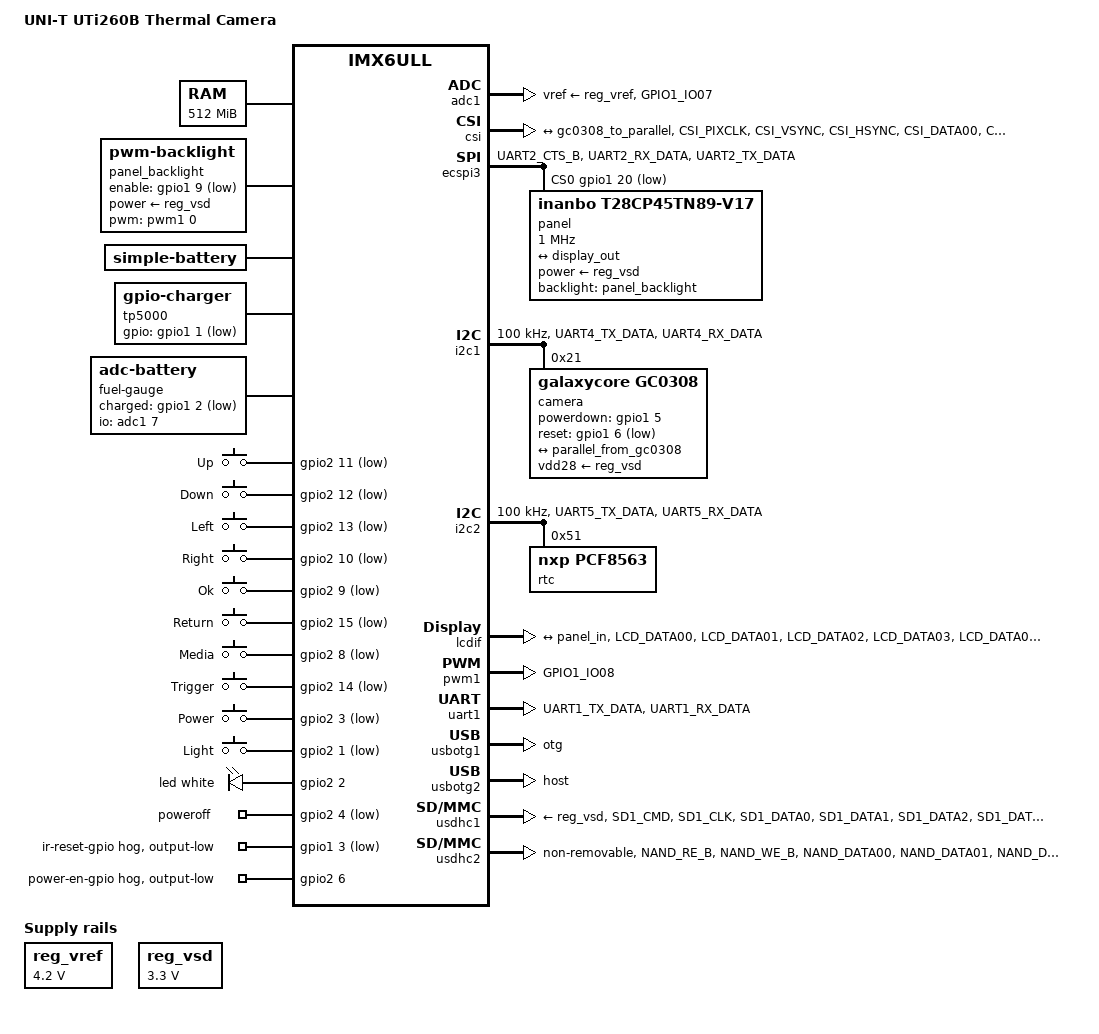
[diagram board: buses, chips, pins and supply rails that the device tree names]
// SPDX-License-Identifier: (GPL-2.0 OR MIT)
// Copyright (C) 2022-2024 Sebastian Reichel <sre@kernel.org>

/dts-v1/;
#include "imx6ull.dtsi"
#include <dt-bindings/gpio/gpio.h>
#include <dt-bindings/input/input.h>
#include <dt-bindings/clock/imx6ul-clock.h>
#include <dt-bindings/leds/common.h>

/ {
	model = "UNI-T UTi260B Thermal Camera";
	compatible = "uni-t,uti260b", "fsl,imx6ull";

	chosen {
		stdout-path = "serial0:115200n8";
	};

	memory@80000000 {
		device_type = "memory";
		reg = <0x80000000 0x20000000>;
	};

	panel_backlight: backlight {
		compatible = "pwm-backlight";
		brightness-levels = <0 4 8 16 32 64 128 255>;
		default-brightness-level = <6>;
		enable-gpios = <&gpio1 9 GPIO_ACTIVE_LOW>;
		pinctrl-names = "default";
		pinctrl-0 = <&mux_backlight_enable>;
		power-supply = <&reg_vsd>;
		pwms = <&pwm1 0 50000 0>;
	};

	battery: battery {
		compatible = "simple-battery";
		/* generic 26650 battery */
		device-chemistry = "lithium-ion";
		charge-full-design-microamp-hours = <5000000>;
		voltage-max-design-microvolt = <4200000>;
		voltage-min-design-microvolt = <3300000>;
	};

	tp5000: charger {
		compatible = "gpio-charger";
		charger-type = "usb-sdp";
		gpios = <&gpio1 1 GPIO_ACTIVE_LOW>;
		pinctrl-names = "default";
		pinctrl-0 = <&mux_charger_stat1>;
	};

	fuel-gauge {
		compatible = "adc-battery";
		charged-gpios = <&gpio1 2 GPIO_ACTIVE_LOW>;
		io-channel-names = "voltage";
		io-channels = <&adc1 7>;
		monitored-battery = <&battery>;
		pinctrl-names = "default";
		pinctrl-0 = <&mux_charger_stat2>;
		power-supplies = <&tp5000>;
	};

	gpio-keys {
		compatible = "gpio-keys";
		pinctrl-names = "default";
		pinctrl-0 = <&mux_gpio_keys>;
		autorepeat;

		up-key {
			label = "Up";
			gpios = <&gpio2 11 GPIO_ACTIVE_LOW>;
			linux,code = <KEY_UP>;
		};

		down-key {
			label = "Down";
			gpios = <&gpio2 12 GPIO_ACTIVE_LOW>;
			linux,code = <KEY_DOWN>;
		};

		left-key {
			label = "Left";
			gpios = <&gpio2 13 GPIO_ACTIVE_LOW>;
			linux,code = <KEY_LEFT>;
		};

		right-key {
			label = "Right";
			gpios = <&gpio2 10 GPIO_ACTIVE_LOW>;
			linux,code = <KEY_RIGHT>;
		};

		ok-key {
			label = "Ok";
			gpios = <&gpio2 9 GPIO_ACTIVE_LOW>;
			linux,code = <KEY_ENTER>;
		};

		return-key {
			label = "Return";
			gpios = <&gpio2 15 GPIO_ACTIVE_LOW>;
			linux,code = <KEY_ESC>;
		};

		play-key {
			label = "Media";
			gpios = <&gpio2 8 GPIO_ACTIVE_LOW>;
			linux,code = <KEY_MEDIA>;
		};

		trigger-key {
			label = "Trigger";
			gpios = <&gpio2 14 GPIO_ACTIVE_LOW>;
			linux,code = <BTN_TRIGGER>;
		};

		power-key {
			label = "Power";
			gpios = <&gpio2 3 GPIO_ACTIVE_LOW>;
			linux,code = <KEY_POWER>;
		};

		light-key {
			label = "Light";
			gpios = <&gpio2 1 GPIO_ACTIVE_LOW>;
			linux,code = <KEY_LIGHTS_TOGGLE>;
		};
	};

	leds {
		compatible = "gpio-leds";
		pinctrl-names = "default";
		pinctrl-0 = <&mux_led_ctrl>;

		led {
			color = <LED_COLOR_ID_WHITE>;
			function = LED_FUNCTION_FLASH;
			gpios = <&gpio2 2 GPIO_ACTIVE_HIGH>;
			default-state = "off";
		};
	};

	poweroff {
		compatible = "gpio-poweroff";
		gpios = <&gpio2 4 GPIO_ACTIVE_LOW>;
		pinctrl-names = "default";
		pinctrl-0 = <&mux_poweroff>;
	};

	reg_vref: regulator-vref-4v2 {
		compatible = "regulator-fixed";
		regulator-name = "VREF_4V2";
		regulator-min-microvolt = <4200000>;
		regulator-max-microvolt = <4200000>;
	};

	reg_vsd: regulator-vsd {
		compatible = "regulator-fixed";
		regulator-name = "VSD_3V3";
		regulator-min-microvolt = <3300000>;
		regulator-max-microvolt = <3300000>;
	};
};

&adc1 {
	#io-channel-cells = <1>;
	pinctrl-names = "default";
	pinctrl-0 = <&mux_adc>;
	vref-supply = <&reg_vref>;
	status = "okay";
};

&csi {
	pinctrl-names = "default";
	pinctrl-0 = <&mux_csi>;
	status = "okay";

	port {
		parallel_from_gc0308: endpoint {
			remote-endpoint = <&gc0308_to_parallel>;
		};
	};
};

&ecspi3 {
	cs-gpios = <&gpio1 20 GPIO_ACTIVE_LOW>;
	pinctrl-names = "default";
	pinctrl-0 = <&mux_spi3>;
	status = "okay";

	panel@0 {
		compatible = "inanbo,t28cp45tn89-v17";
		reg = <0>;
		backlight = <&panel_backlight>;
		power-supply = <&reg_vsd>;
		spi-cpha;
		spi-cpol;
		spi-max-frequency = <1000000>;
		spi-rx-bus-width = <0>;

		port {
			panel_in: endpoint {
				remote-endpoint = <&display_out>;
			};
		};
	};
};

&gpio1 {
	ir-reset-hog {
		gpio-hog;
		gpios = <3 GPIO_ACTIVE_LOW>;
		line-name = "ir-reset-gpio";
		output-low;
		pinctrl-names = "default";
		pinctrl-0 = <&mux_ir_reset>;
	};
};

&gpio2 {
	/* configuring this to output-high results in poweroff */
	power-en-hog {
		gpio-hog;
		gpios = <6 GPIO_ACTIVE_HIGH>;
		line-name = "power-en-gpio";
		output-low;
		pinctrl-names = "default";
		pinctrl-0 = <&mux_poweroff2>;
	};
};

&i2c1 {
	clock-frequency = <100000>;
	pinctrl-names = "default";
	pinctrl-0 = <&mux_i2c1>;
	status = "okay";

	camera@21 {
		compatible = "galaxycore,gc0308";
		reg = <0x21>;
		clocks = <&clks IMX6UL_CLK_CSI>;
		pinctrl-names = "default";
		pinctrl-0 = <&mux_gc0308>;
		powerdown-gpios = <&gpio1 5 GPIO_ACTIVE_HIGH>;
		reset-gpios = <&gpio1 6 GPIO_ACTIVE_LOW>;
		vdd28-supply = <&reg_vsd>;

		port {
			gc0308_to_parallel: endpoint {
				remote-endpoint = <&parallel_from_gc0308>;
				bus-width = <8>;
				data-shift = <2>; /* lines 9:2 are used */
				hsync-active = <1>; /* active high */
				vsync-active = <1>; /* active high */
				data-active = <1>; /* active high */
				pclk-sample = <1>; /* sample on rising edge */
			};
		};
	};
};

&i2c2 {
	clock-frequency = <100000>;
	pinctrl-names = "default";
	pinctrl-0 = <&mux_i2c2>;
	status = "okay";

	rtc@51 {
		compatible = "nxp,pcf8563";
		reg = <0x51>;
	};
};

&lcdif {
	assigned-clocks = <&clks IMX6UL_CLK_LCDIF_PRE_SEL>;
	assigned-clock-parents = <&clks IMX6UL_CLK_PLL5_VIDEO_DIV>;
	pinctrl-names = "default";
	pinctrl-0 = <&mux_lcd_data>, <&mux_lcd_ctrl>;
	status = "okay";

	port {
		display_out: endpoint {
			remote-endpoint = <&panel_in>;
		};
	};
};

&pwm1 {
	pinctrl-names = "default";
	pinctrl-0 = <&mux_pwm>;
	status = "okay";
};

&uart1 {
	pinctrl-names = "default";
	pinctrl-0 = <&mux_uart>;
	status = "okay";
};

&usbotg1 {
	/* USB-C connector */
	disable-over-current;
	dr_mode = "otg";
	status = "okay";
};

&usbotg2 {
	/* thermal sensor */
	disable-over-current;
	dr_mode = "host";
	status = "okay";
};

&usbphy1 {
	fsl,tx-d-cal = <106>;
};

&usbphy2 {
	fsl,tx-d-cal = <106>;
};

&usdhc1 {
	/* MicroSD */
	cd-gpios = <&gpio1 19 GPIO_ACTIVE_LOW>;
	keep-power-in-suspend;
	no-1-8-v;
	pinctrl-names = "default", "state_100mhz", "state_200mhz";
	pinctrl-0 = <&mux_sdhc1>, <&mux_sdhc1_cd>;
	pinctrl-1 = <&mux_sdhc1_100mhz>, <&mux_sdhc1_cd>;
	pinctrl-2 = <&mux_sdhc1_200mhz>, <&mux_sdhc1_cd>;
	wakeup-source;
	vmmc-supply = <&reg_vsd>;
	status = "okay";
};

&usdhc2 {
	/* eMMC */
	keep-power-in-suspend;
	no-1-8-v;
	non-removable;
	pinctrl-names = "default";
	pinctrl-0 = <&mux_sdhc2>;
	wakeup-source;
	status = "okay";
};

&wdog1 {
	pinctrl-names = "default";
	pinctrl-0 = <&mux_wdog>;
};

&iomuxc {
	mux_adc: adcgrp {
		fsl,pins = <
			MX6UL_PAD_GPIO1_IO07__GPIO1_IO07		0xb0
		>;
	};

	mux_backlight_enable: blenablegrp {
		fsl,pins = <
			MX6UL_PAD_GPIO1_IO09__GPIO1_IO09		0x3008
		>;
	};

	mux_charger_stat1: charger1grp {
		fsl,pins = <
			MX6UL_PAD_GPIO1_IO01__GPIO1_IO01		0x3008
		>;
	};

	mux_charger_stat2: charger2grp {
		fsl,pins = <
			MX6UL_PAD_GPIO1_IO02__GPIO1_IO02		0x3008
		>;
	};

	mux_csi: csi1grp {
		fsl,pins = <
			MX6UL_PAD_CSI_PIXCLK__CSI_PIXCLK		0x1b088
			MX6UL_PAD_CSI_VSYNC__CSI_VSYNC			0x1b088
			MX6UL_PAD_CSI_HSYNC__CSI_HSYNC			0x1b088
			MX6UL_PAD_CSI_DATA00__CSI_DATA02		0x1b088
			MX6UL_PAD_CSI_DATA01__CSI_DATA03		0x1b088
			MX6UL_PAD_CSI_DATA02__CSI_DATA04		0x1b088
			MX6UL_PAD_CSI_DATA03__CSI_DATA05		0x1b088
			MX6UL_PAD_CSI_DATA04__CSI_DATA06		0x1b088
			MX6UL_PAD_CSI_DATA05__CSI_DATA07		0x1b088
			MX6UL_PAD_CSI_DATA06__CSI_DATA08		0x1b088
			MX6UL_PAD_CSI_DATA07__CSI_DATA09		0x1b088
		>;
	};

	mux_gc0308: gc0308grp {
		fsl,pins = <
			MX6UL_PAD_CSI_MCLK__CSI_MCLK			0x1e038
			MX6UL_PAD_GPIO1_IO05__GPIO1_IO05		0x1b088
			MX6UL_PAD_GPIO1_IO06__GPIO1_IO06		0x1b088
		>;
	};

	mux_gpio_keys: gpiokeygrp {
		fsl,pins = <
			MX6UL_PAD_ENET2_TX_DATA0__GPIO2_IO11		0x3008
			MX6UL_PAD_ENET2_TX_DATA1__GPIO2_IO12		0x3008
			MX6UL_PAD_ENET2_TX_EN__GPIO2_IO13		0x3008
			MX6UL_PAD_ENET2_RX_EN__GPIO2_IO10		0x3008
			MX6UL_PAD_ENET2_RX_DATA1__GPIO2_IO09		0x3008
			MX6UL_PAD_ENET2_RX_ER__GPIO2_IO15		0x3008
			MX6UL_PAD_ENET2_RX_DATA0__GPIO2_IO08		0x3008
			MX6UL_PAD_ENET2_TX_CLK__GPIO2_IO14		0x3008
			MX6UL_PAD_ENET1_TX_DATA0__GPIO2_IO03		0x3008
			MX6UL_PAD_ENET1_RX_DATA1__GPIO2_IO01		0x3008
		>;
	};

	mux_i2c1: i2c1grp {
		fsl,pins = <
			MX6UL_PAD_UART4_TX_DATA__I2C1_SCL		0x4001b8b0
			MX6UL_PAD_UART4_RX_DATA__I2C1_SDA		0x4001b8b0
		>;
	};

	mux_i2c2: i2c2grp {
		fsl,pins = <
			MX6UL_PAD_UART5_TX_DATA__I2C2_SCL		0x4001f8a8
			MX6UL_PAD_UART5_RX_DATA__I2C2_SDA		0x4001f8a8
		>;
	};

	mux_ir_reset: irresetgrp {
		fsl,pins = <
			MX6UL_PAD_GPIO1_IO03__GPIO1_IO03		0x3008
		>;
	};

	mux_lcd_ctrl: lcdifctrlgrp {
		fsl,pins = <
			MX6UL_PAD_LCD_CLK__LCDIF_CLK			0x79
			MX6UL_PAD_LCD_ENABLE__LCDIF_ENABLE		0x79
			MX6UL_PAD_LCD_HSYNC__LCDIF_HSYNC		0x79
			MX6UL_PAD_LCD_VSYNC__LCDIF_VSYNC		0x79
		>;
	};

	mux_lcd_data: lcdifdatgrp {
		fsl,pins = <
			MX6UL_PAD_LCD_DATA00__LCDIF_DATA00		0x79
			MX6UL_PAD_LCD_DATA01__LCDIF_DATA01		0x79
			MX6UL_PAD_LCD_DATA02__LCDIF_DATA02		0x79
			MX6UL_PAD_LCD_DATA03__LCDIF_DATA03		0x79
			MX6UL_PAD_LCD_DATA04__LCDIF_DATA04		0x79
			MX6UL_PAD_LCD_DATA05__LCDIF_DATA05		0x79
			MX6UL_PAD_LCD_DATA06__LCDIF_DATA06		0x79
			MX6UL_PAD_LCD_DATA07__LCDIF_DATA07		0x79
			MX6UL_PAD_LCD_DATA08__LCDIF_DATA08		0x79
			MX6UL_PAD_LCD_DATA09__LCDIF_DATA09		0x79
			MX6UL_PAD_LCD_DATA10__LCDIF_DATA10		0x79
			MX6UL_PAD_LCD_DATA11__LCDIF_DATA11		0x79
			MX6UL_PAD_LCD_DATA12__LCDIF_DATA12		0x79
			MX6UL_PAD_LCD_DATA13__LCDIF_DATA13		0x79
			MX6UL_PAD_LCD_DATA14__LCDIF_DATA14		0x79
			MX6UL_PAD_LCD_DATA15__LCDIF_DATA15		0x79
			MX6UL_PAD_LCD_DATA16__LCDIF_DATA16		0x79
			MX6UL_PAD_LCD_DATA17__LCDIF_DATA17		0x79
		>;
	};

	mux_led_ctrl: ledctrlgrp {
		fsl,pins = <
			MX6UL_PAD_ENET1_RX_EN__GPIO2_IO02		0x3008
		>;
	};

	mux_poweroff: poweroffgrp {
		fsl,pins = <
			MX6UL_PAD_ENET1_TX_DATA1__GPIO2_IO04		0x3008
		>;
	};

	mux_poweroff2: poweroff2grp {
		fsl,pins = <
			MX6UL_PAD_ENET1_TX_CLK__GPIO2_IO06		0x3008
		>;
	};

	mux_pwm: pwm1grp {
		fsl,pins = <
			MX6UL_PAD_GPIO1_IO08__PWM1_OUT			0x110b0
		>;
	};

	mux_sdhc1: sdhc1grp {
		fsl,pins = <
			MX6UL_PAD_SD1_CMD__USDHC1_CMD			0x17059
			MX6UL_PAD_SD1_CLK__USDHC1_CLK			0x10071
			MX6UL_PAD_SD1_DATA0__USDHC1_DATA0		0x17059
			MX6UL_PAD_SD1_DATA1__USDHC1_DATA1		0x17059
			MX6UL_PAD_SD1_DATA2__USDHC1_DATA2		0x17059
			MX6UL_PAD_SD1_DATA3__USDHC1_DATA3		0x17059
		>;
	};

	mux_sdhc1_100mhz: sdhc1-100mhz-grp {
		fsl,pins = <
			MX6UL_PAD_SD1_CMD__USDHC1_CMD			0x170b9
			MX6UL_PAD_SD1_CLK__USDHC1_CLK			0x170b9
			MX6UL_PAD_SD1_DATA0__USDHC1_DATA0		0x170b9
			MX6UL_PAD_SD1_DATA1__USDHC1_DATA1		0x170b9
			MX6UL_PAD_SD1_DATA2__USDHC1_DATA2		0x170b9
			MX6UL_PAD_SD1_DATA3__USDHC1_DATA3		0x170b9
		>;
	};

	mux_sdhc1_200mhz: sdhc1-200mhz-grp {
		fsl,pins = <
			MX6UL_PAD_SD1_CMD__USDHC1_CMD			0x170f9
			MX6UL_PAD_SD1_CLK__USDHC1_CLK			0x170f9
			MX6UL_PAD_SD1_DATA0__USDHC1_DATA0		0x170f9
			MX6UL_PAD_SD1_DATA1__USDHC1_DATA1		0x170f9
			MX6UL_PAD_SD1_DATA2__USDHC1_DATA2		0x170f9
			MX6UL_PAD_SD1_DATA3__USDHC1_DATA3		0x170f9
		>;
	};

	mux_sdhc1_cd: sdhc1-cd-grp {
		fsl,pins = <
			MX6UL_PAD_UART1_RTS_B__GPIO1_IO19		0x17059
		>;
	};

	mux_sdhc2: sdhc2grp {
		fsl,pins = <
			MX6UL_PAD_NAND_RE_B__USDHC2_CLK			0x10069
			MX6UL_PAD_NAND_WE_B__USDHC2_CMD			0x17059
			MX6UL_PAD_NAND_DATA00__USDHC2_DATA0		0x17059
			MX6UL_PAD_NAND_DATA01__USDHC2_DATA1		0x17059
			MX6UL_PAD_NAND_DATA02__USDHC2_DATA2		0x17059
			MX6UL_PAD_NAND_DATA03__USDHC2_DATA3		0x17059
			MX6UL_PAD_NAND_DATA04__USDHC2_DATA4		0x17059
			MX6UL_PAD_NAND_DATA05__USDHC2_DATA5		0x17059
			MX6UL_PAD_NAND_DATA06__USDHC2_DATA6		0x17059
			MX6UL_PAD_NAND_DATA07__USDHC2_DATA7		0x17059
		>;
	};

	mux_spi3: ecspi3grp {
		fsl,pins = <
			MX6UL_PAD_UART2_CTS_B__ECSPI3_MOSI		0x100b1
			MX6UL_PAD_UART2_RX_DATA__ECSPI3_SCLK		0x100b1
			MX6UL_PAD_UART2_TX_DATA__GPIO1_IO20		0x3008
		>;
	};

	mux_uart: uartgrp {
		fsl,pins = <
			MX6UL_PAD_UART1_TX_DATA__UART1_DCE_TX		0x1b0b1
			MX6UL_PAD_UART1_RX_DATA__UART1_DCE_RX		0x1b0b1
		>;
	};

	mux_wdog: wdoggrp {
		fsl,pins = <
			MX6UL_PAD_LCD_RESET__WDOG1_WDOG_ANY		0x30b0
		>;
	};
};
